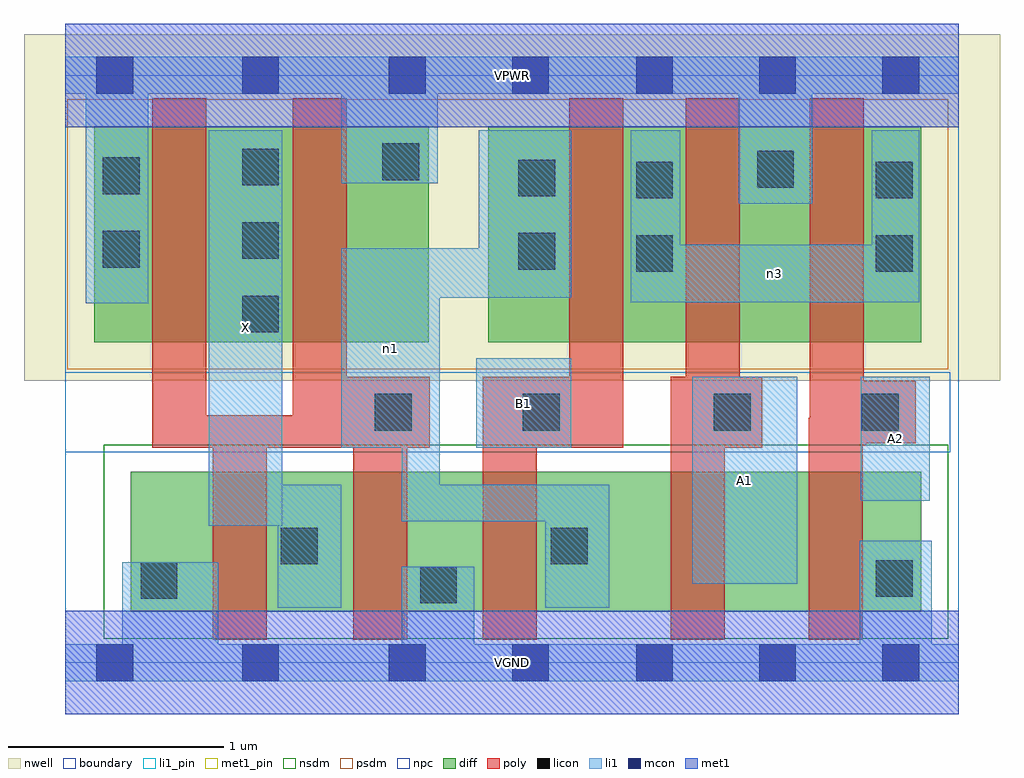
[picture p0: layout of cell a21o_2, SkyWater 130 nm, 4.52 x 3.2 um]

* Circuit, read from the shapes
.subckt a21o_2 A1 A2 B1 VGND VPWR X n1 n3
XM1 X n1 VGND VSUBS sky130_fd_pr__nfet_01v8 w=0.65 l=0.25 m=2
XM2 n1 B1 VGND VSUBS sky130_fd_pr__nfet_01v8 w=0.65 l=0.25
XM3 n2 A1 n1 VSUBS sky130_fd_pr__nfet_01v8 w=0.65 l=0.25
XM4 VGND A2 n2 VSUBS sky130_fd_pr__nfet_01v8 w=0.65 l=0.25
XM5 X n1 VPWR n4 sky130_fd_pr__pfet_01v8 w=1 l=0.25 m=2
XM6 n3 B1 n1 n4 sky130_fd_pr__pfet_01v8 w=1 l=0.25
XM7 VPWR A1 n3 n4 sky130_fd_pr__pfet_01v8 w=1 l=0.25
XM8 n3 A2 VPWR n4 sky130_fd_pr__pfet_01v8 w=1 l=0.25
.ends

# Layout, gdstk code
import gdstk
lib = gdstk.Library(unit=1e-6, precision=1e-09)
def R(c, l, rs):  # rectangles x0, y0, x1, y1
    for r in rs: c.add(gdstk.rectangle(r[:2], r[2:], *l))
def A(c, l, x, y, w, h, nx, ny, dx, dy):  # array of equal rectangles
    R(c, l, [(x+i*dx, y+j*dy, x+i*dx+w, y+j*dy+h) for i in range(nx) for j in range(ny)])
nwell = (64, 20)
diff = (65, 20)
poly = (66, 20)
licon = (66, 44)
li1_pin = (67, 16)
li1 = (67, 20)
mcon = (67, 44)
met1_pin = (68, 16)
met1 = (68, 20)
nsdm = (93, 44)
psdm = (94, 20)
npc = (95, 20)
boundary = (235, 4)

a21o_2 = lib.new_cell('a21o_2')
R(a21o_2, nwell, [(-0.19,1.305,4.33,2.91), (0,1.305,4.14,2.91)])
R(a21o_2, diff, [(0.305,0.235,3.965,0.885), (0.135,1.485,1.685,2.485), (1.96,1.485,3.965,2.485)])
R(a21o_2, poly, [(0.685,0.105,0.935,1.145), (1.335,0.105,1.585,1.325), (1.935,0.105,2.185,1.325), (2.805,0.105,3.055,1.325), (2.875,0.105,3.055,2.615), (3.445,0.105,3.695,1.135), (0.405,0.995,0.655,2.615), (0.405,0.995,1.69,1.145), (1.055,0.995,1.305,2.615), (1.055,0.995,1.69,1.325), (1.935,0.995,2.585,1.325), (2.335,0.995,2.585,2.615), (2.805,0.995,3.23,1.325), (3.055,0.995,3.125,2.615), (3.445,1.005,3.71,1.135), (3.45,1.005,3.7,2.615), (3.45,1.015,3.94,1.305)])
A(a21o_2, licon, 0.82, 1.53, 0.17, 0.17, 1, 3, 0, 0.34)
R(a21o_2, licon, [(1.645,0.275,1.815,0.445), (0.35,0.295,0.52,0.465), (3.755,0.305,3.925,0.475), (1,0.455,1.17,0.625), (2.25,0.455,2.42,0.625), (1.435,1.075,1.605,1.245), (2.12,1.075,2.29,1.245), (3.005,1.075,3.175,1.245), (3.69,1.075,3.86,1.245), (2.645,1.81,2.815,1.98), (3.755,1.81,3.925,1.98), (2.1,1.82,2.27,1.99), (0.175,1.83,0.345,2), (2.645,2.15,2.815,2.32), (3.755,2.15,3.925,2.32), (2.1,2.16,2.27,2.33), (0.175,2.17,0.345,2.34), (3.205,2.2,3.375,2.37), (1.47,2.235,1.64,2.405)])
R(a21o_2, li1_pin, [(2.905,0.365,3.39,1.325), (0.665,0.635,1.005,2.465), (3.685,0.75,4.005,1.325), (1.905,0.995,2.345,1.41)])
R(a21o_2, li1, [(0,-0.085,4.14,0.085), (0.265,-0.085,0.71,0.465), (1.56,-0.085,1.895,0.445), (3.68,-0.085,4.015,0.565), (0.985,0.255,1.28,0.825), (2.225,0.255,2.52,0.825), (2.905,0.365,3.39,1.325), (0.665,0.635,1.005,2.465), (1.56,0.655,2.52,0.825), (1.56,0.655,1.735,1.92), (3.685,0.75,4.005,1.325), (1.28,0.995,1.735,1.92), (1.905,0.995,2.345,1.41), (0.095,1.665,0.385,2.805), (2.62,1.67,3.955,1.935), (2.62,1.67,2.85,2.465), (3.735,1.67,3.955,2.465), (1.28,1.69,2.345,1.92), (1.915,1.69,2.345,2.465), (3.12,2.125,3.46,2.805), (1.28,2.22,1.725,2.805), (0,2.635,4.14,2.805)])
A(a21o_2, mcon, 2.645, -0.085, 0.17, 0.17, 3, 2, 0.57, 2.72)
R(a21o_2, mcon, [(0.145,-0.085,0.315,0.085), (0.82,-0.085,0.99,0.085), (1.5,-0.085,1.67,0.085), (2.07,-0.085,2.24,0.085), (0.145,2.635,0.315,2.805), (0.82,2.635,0.99,2.805), (1.5,2.635,1.67,2.805), (2.07,2.635,2.24,2.805)])
R(a21o_2, met1_pin, [(0,-0.24,4.14,0.24), (0,2.48,4.14,2.96)])
R(a21o_2, met1, [(0,-0.24,4.14,0.24), (0,2.48,4.14,2.96)])
R(a21o_2, nsdm, [(0.18,0.11,4.09,1.01)])
R(a21o_2, psdm, [(0.01,1.36,4.09,2.61)])
R(a21o_2, npc, [(0,0.975,4.1,1.345)])
R(a21o_2, boundary, [(0,0,4.14,2.72)])
a21o_2.add(gdstk.Label('A1', (3.147,0.845), layer=67, texttype=5))
a21o_2.add(gdstk.Label('A2', (3.845,1.037), layer=67, texttype=5))
a21o_2.add(gdstk.Label('B1', (2.125,1.202), layer=67, texttype=5))
a21o_2.add(gdstk.Label('X', (0.835,1.55), layer=67, texttype=5))
a21o_2.add(gdstk.Label('n1', (1.507,1.457), layer=67, texttype=5))
a21o_2.add(gdstk.Label('n3', (3.287,1.802), layer=67, texttype=5))
a21o_2.add(gdstk.Label('VPWR', (2.07,2.72), layer=68, texttype=5))
a21o_2.add(gdstk.Label('VGND', (2.07,0), layer=68, texttype=5))
a21o_2.add(gdstk.Label('A1', (3.147,0.845), layer=67, texttype=16))
a21o_2.add(gdstk.Label('A2', (3.845,1.037), layer=67, texttype=16))
a21o_2.add(gdstk.Label('B1', (2.125,1.202), layer=67, texttype=16))
a21o_2.add(gdstk.Label('X', (0.835,1.55), layer=67, texttype=16))
a21o_2.add(gdstk.Label('VPWR', (2.07,2.72), layer=68, texttype=16))
a21o_2.add(gdstk.Label('VGND', (2.07,0), layer=68, texttype=16))

lib.write_gds('a21o_2.gds')
